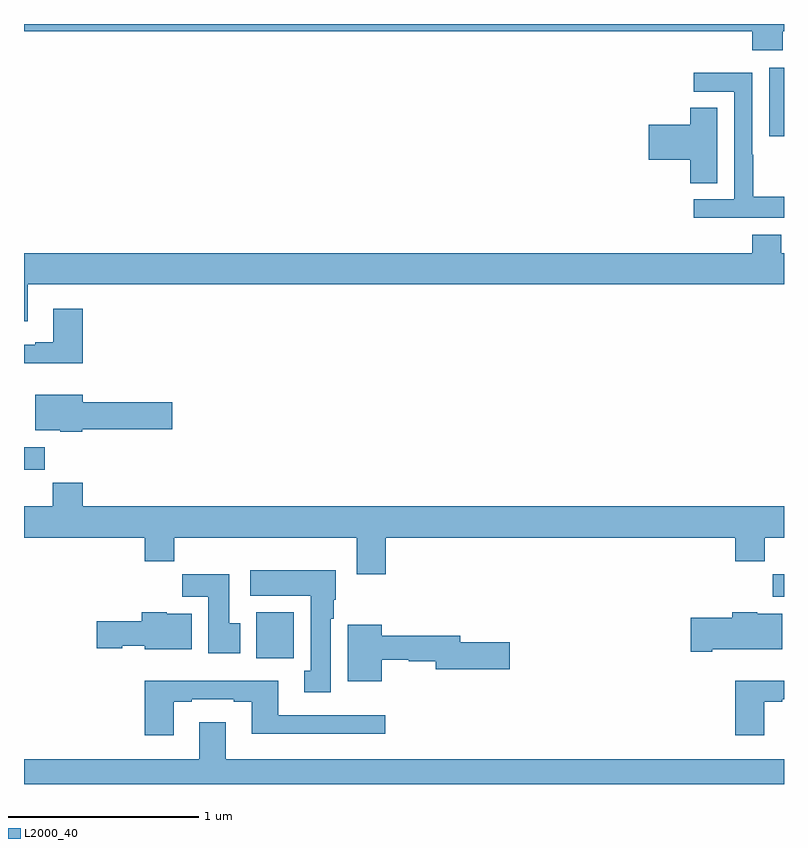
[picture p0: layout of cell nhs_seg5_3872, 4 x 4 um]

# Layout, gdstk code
import gdstk
lib = gdstk.Library(unit=1e-6, precision=1e-09)
def R(c, l, rs):  # rectangles x0, y0, x1, y1
    for r in rs: c.add(gdstk.rectangle(r[:2], r[2:], *l))
def P(c, l, *ps):  # polygons
    for p in ps: c.add(gdstk.Polygon(p, *l))
L2000_40 = (2000, 40)

nhs_seg5_3872 = lib.new_cell('nhs_seg5_3872')
R(nhs_seg5_3872, L2000_40, [(340.223,853.46,340.42,853.702), (342.94,853.784,343,853.903), (339,854.454,339.11,854.572), (342.923,856.209,343,856.57)])
P(nhs_seg5_3872, L2000_40, [(342.993,856.76),(343,856.76),(343,856.799),(339,856.799),(339,856.76),(342.833,856.76),(342.833,856.661),(342.993,856.661)],
  [(343,855.889),(342.837,855.889),(342.837,856.112),(342.834,856.112),(342.834,856.542),(342.525,856.542),(342.525,856.443),(342.738,856.443),(342.738,855.876),(342.525,855.876),(342.525,855.78),(343,855.78)],
  [(342.649,856.358),(342.506,856.358),(342.506,856.268),(342.288,856.268),(342.288,856.085),(342.506,856.085),(342.506,855.961),(342.649,855.961)],
  [(339.019,855.428),(343,855.428),(343,855.592),(342.985,855.592),(342.985,855.691),(342.833,855.691),(342.833,855.592),(339,855.592),(339,855.234),(339.019,855.234)],
  [(339.308,855.301),(339.155,855.301),(339.155,855.124),(339.059,855.124),(339.059,855.111),(339,855.111),(339,855.014),(339.308,855.014)],
  [(339.306,854.665),(339.781,854.665),(339.781,854.807),(339.31,854.807),(339.31,854.848),(339.059,854.848),(339.059,854.66),(339.192,854.66),(339.192,854.654),(339.306,854.654)],
  [(340.904,854.096),(342.743,854.096),(342.743,853.972),(342.899,853.972),(342.899,854.096),(343,854.096),(343,854.26),(339.308,854.26),(339.308,854.384),(339.151,854.384),(339.151,854.26),(339,854.26),(339,854.096),(339.635,854.096),(339.635,853.972),(339.791,853.972),(339.791,854.096),(340.751,854.096),(340.751,853.902),(340.904,853.902)],
  [(340.615,853.67),(340.63,853.67),(340.63,853.77),(340.642,853.77),(340.642,853.924),(340.191,853.924),(340.191,853.79),(340.508,853.79),(340.508,853.394),(340.475,853.394),(340.475,853.281),(340.615,853.281)],
  [(340.138,853.644),(340.081,853.644),(340.081,853.903),(339.832,853.903),(339.832,853.784),(339.971,853.784),(339.971,853.488),(340.138,853.488)],
  [(339.883,853.696),(339.75,853.696),(339.75,853.702),(339.62,853.702),(339.62,853.656),(339.384,853.656),(339.384,853.514),(339.516,853.514),(339.516,853.526),(339.636,853.526),(339.636,853.508),(339.883,853.508)],
  [(342.622,853.508),(342.991,853.508),(342.991,853.696),(342.858,853.696),(342.858,853.702),(342.728,853.702),(342.728,853.674),(342.51,853.674),(342.51,853.496),(342.622,853.496)],
  [(340.882,853.452),(341.025,853.452),(341.025,853.444),(341.168,853.444),(341.168,853.402),(341.557,853.402),(341.557,853.544),(341.296,853.544),(341.296,853.58),(340.882,853.58),(340.882,853.636),(340.703,853.636),(340.703,853.34),(340.882,853.34)],
  [(342.895,853.233),(342.991,853.233),(342.991,853.245),(343,853.245),(343,853.342),(342.743,853.342),(342.743,853.056),(342.895,853.056)],
  [(339.787,853.233),(339.883,853.233),(339.883,853.245),(340.103,853.245),(340.103,853.233),(340.199,853.233),(340.199,853.064),(340.9,853.064),(340.9,853.161),(340.339,853.161),(340.339,853.342),(339.635,853.342),(339.635,853.056),(339.787,853.056)],
  [(343,852.928),(340.063,852.928),(340.063,853.123),(339.923,853.123),(339.923,852.928),(339,852.928),(339,852.799),(343,852.799)])

lib.write_gds('nhs_seg5_3872.gds')
